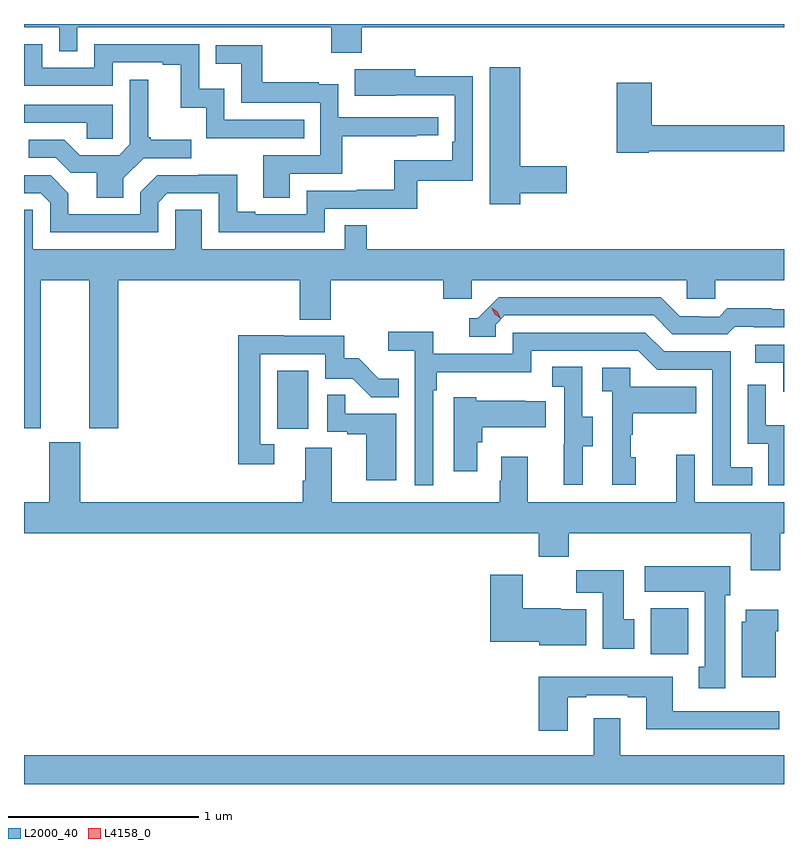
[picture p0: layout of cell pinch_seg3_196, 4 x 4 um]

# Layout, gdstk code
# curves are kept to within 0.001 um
import gdstk
lib = gdstk.Library(unit=1e-6, precision=1e-09)
def R(c, l, rs):  # rectangles x0, y0, x1, y1
    for r in rs: c.add(gdstk.rectangle(r[:2], r[2:], *l))
def P(c, l, *ps):  # polygons
    for p in ps: c.add(gdstk.Polygon(p, *l))
L2000_40 = (2000, 40)
L4158_0 = (4158, 0)

pinch_seg3_196 = lib.new_cell('pinch_seg3_196')
R(pinch_seg3_196, L2000_40, [(975.143,741.572,975.34,741.814), (973.178,742.758,973.342,743.065)])
P(pinch_seg3_196, L2000_40, [(973.622,744.872),(975.845,744.872),(975.845,744.889),(971.845,744.889),(971.845,744.872),(972.03,744.872),(972.03,744.745),(972.126,744.745),(972.126,744.872),(973.462,744.872),(973.462,744.737),(973.622,744.737)],
  [(973.319,744.384),(972.9,744.384),(972.9,744.547),(972.768,744.547),(972.768,744.783),(972.216,744.783),(972.216,744.66),(971.94,744.66),(971.94,744.783),(971.845,744.783),(971.845,744.564),(972.312,744.564),(972.312,744.687),(972.575,744.687),(972.575,744.675),(972.671,744.675),(972.671,744.449),(972.804,744.449),(972.804,744.288),(973.319,744.288)],
  [(973.243,744.102),(973.52,744.102),(973.52,744.298),(973.913,744.298),(973.913,744.303),(974.026,744.303),(974.026,744.399),(973.5,744.399),(973.5,744.571),(973.397,744.571),(973.397,744.583),(973.099,744.583),(973.099,744.777),(972.853,744.777),(972.853,744.68),(972.988,744.68),(972.988,744.474),(973.404,744.474),(973.404,744.198),(973.103,744.198),(973.103,743.974),(973.243,743.974)],
  [(974.458,743.998),(974.701,743.998),(974.701,744.14),(974.458,744.14),(974.458,744.661),(974.297,744.661),(974.297,743.94),(974.458,743.94)],
  [(972.552,743.949),(972.6,743.997),(972.87,743.997),(972.87,743.793),(973.428,743.793),(973.428,743.916),(973.915,743.916),(973.915,744.063),(974.208,744.063),(974.208,744.614),(973.903,744.614),(973.903,744.652),(973.585,744.652),(973.585,744.512),(974.112,744.513),(974.112,744.268),(974.099,744.268),(974.099,744.172),(973.794,744.172),(973.794,744.017),(973.597,744.017),(973.597,744.012),(973.332,744.012),(973.332,743.889),(973.063,743.889),(973.063,743.902),(972.967,743.902),(972.967,744.095),(972.762,744.095),(972.762,744.093),(972.546,744.093),(972.456,744.003),(972.456,743.889),(972.079,743.889),(972.079,743.999),(971.985,744.093),(971.845,744.093),(971.845,743.997),(971.934,743.997),(971.982,743.949),(971.982,743.793),(972.552,743.793)],
  [(972.367,744.076),(972.474,744.183),(972.724,744.183),(972.724,744.28),(972.511,744.28),(972.511,744.292),(972.499,744.292),(972.499,744.595),(972.402,744.595),(972.402,744.255),(972.345,744.198),(972.139,744.198),(972.058,744.279),(971.871,744.279),(971.871,744.186),(972.012,744.186),(972.092,744.106),(972.227,744.106),(972.227,743.974),(972.367,743.974)],
  [(975.132,744.22),(975.845,744.22),(975.845,744.356),(975.149,744.356),(975.149,744.58),(974.966,744.58),(974.966,744.212),(975.132,744.212)],
  [(972.312,744.465),(971.845,744.465),(971.845,744.369),(972.175,744.369),(972.175,744.285),(972.312,744.285)],
  [(971.932,743.54),(972.188,743.54),(972.188,742.761),(972.341,742.761),(972.341,743.54),(973.295,743.54),(973.295,743.332),(973.46,743.332),(973.46,743.54),(974.051,743.54),(974.051,743.442),(974.202,743.442),(974.202,743.54),(975.333,743.54),(975.333,743.442),(975.483,743.442),(975.483,743.54),(975.845,743.54),(975.845,743.704),(973.649,743.704),(973.649,743.831),(973.533,743.831),(973.533,743.704),(972.781,743.704),(972.781,743.912),(972.642,743.912),(972.642,743.704),(971.892,743.704),(971.892,743.912),(971.845,743.912),(971.845,742.761),(971.932,742.761)],
  [(974.328,743.307),(974.376,743.355),(975.159,743.355),(975.258,743.256),(975.547,743.256),(975.586,743.295),(975.685,743.295),(975.685,743.292),(975.845,743.292),(975.845,743.389),(975.78,743.389),(975.78,743.392),(975.547,743.392),(975.505,743.349),(975.402,743.349),(975.402,743.352),(975.295,743.352),(975.196,743.451),(974.343,743.451),(974.232,743.34),(974.189,743.34),(974.189,743.244),(974.328,743.244)],
  [(973.998,742.961),(974.018,742.961),(974.018,743.057),(974.514,743.057),(974.514,743.169),(975.078,743.169),(975.177,743.07),(975.468,743.07),(975.468,742.461),(975.677,742.461),(975.677,742.557),(975.564,742.557),(975.564,743.166),(975.214,743.166),(975.115,743.265),(974.418,743.265),(974.418,743.154),(974,743.154),(974,743.27),(973.761,743.27),(973.761,743.168),(973.902,743.168),(973.902,742.461),(973.998,742.461)],
  [(973.162,742.677),(973.089,742.677),(973.089,743.151),(973.431,743.151),(973.431,743.022),(973.575,743.022),(973.673,742.924),(973.817,742.924),(973.817,743.023),(973.713,743.023),(973.606,743.13),(973.53,743.13),(973.53,743.247),(973.211,743.247),(973.211,743.252),(972.973,743.252),(972.973,742.572),(973.162,742.572)],
  [(975.845,743.202),(975.693,743.202),(975.693,743.106),(975.84,743.106),(975.84,742.953),(975.845,742.953)],
  [(974.785,742.666),(974.839,742.666),(974.839,742.821),(974.784,742.821),(974.784,743.084),(974.625,743.084),(974.625,742.981),(974.688,742.981),(974.688,742.677),(974.687,742.677),(974.687,742.464),(974.785,742.464)],
  [(975.064,742.608),(975.039,742.608),(975.039,742.727),(975.049,742.727),(975.049,742.841),(975.383,742.841),(975.383,742.981),(975.036,742.981),(975.036,743.079),(974.889,743.079),(974.889,742.955),(974.94,742.955),(974.94,742.464),(975.064,742.464)],
  [(975.845,742.778),(975.75,742.778),(975.75,742.99),(975.654,742.99),(975.654,742.68),(975.762,742.68),(975.762,742.461),(975.845,742.461)],
  [(973.804,742.839),(973.535,742.839),(973.535,742.937),(973.44,742.937),(973.44,742.743),(973.547,742.743),(973.547,742.731),(973.646,742.731),(973.646,742.488),(973.804,742.488)],
  [(974.23,742.689),(974.256,742.689),(974.256,742.766),(974.591,742.766),(974.591,742.903),(974.483,742.903),(974.483,742.906),(974.226,742.906),(974.226,742.924),(974.108,742.924),(974.108,742.536),(974.23,742.536)],
  [(975.824,742.208),(975.845,742.208),(975.845,742.372),(975.375,742.372),(975.375,742.621),(975.278,742.621),(975.278,742.372),(974.497,742.372),(974.497,742.612),(974.357,742.612),(974.357,742.484),(974.35,742.484),(974.35,742.372),(973.465,742.372),(973.465,742.658),(973.325,742.658),(973.325,742.484),(973.313,742.484),(973.313,742.372),(972.142,742.372),(972.142,742.689),(971.978,742.689),(971.978,742.372),(971.845,742.372),(971.845,742.208),(974.555,742.208),(974.555,742.084),(974.711,742.084),(974.711,742.208),(975.671,742.208),(975.671,742.014),(975.824,742.014)],
  [(975.535,741.882),(975.562,741.882),(975.562,742.036),(975.111,742.036),(975.111,741.902),(975.428,741.902),(975.428,741.506),(975.395,741.506),(975.395,741.393),(975.535,741.393)],
  [(975.058,741.756),(975.001,741.756),(975.001,742.015),(974.752,742.015),(974.752,741.896),(974.891,741.896),(974.891,741.6),(975.058,741.6)],
  [(974.803,741.808),(974.67,741.808),(974.67,741.814),(974.47,741.814),(974.47,741.991),(974.3,741.991),(974.3,741.638),(974.556,741.638),(974.556,741.62),(974.803,741.62)],
  [(975.802,741.692),(975.815,741.692),(975.815,741.805),(975.644,741.805),(975.644,741.744),(975.623,741.744),(975.623,741.452),(975.802,741.452)],
  [(974.707,741.345),(974.803,741.345),(974.803,741.357),(975.023,741.357),(975.023,741.345),(975.119,741.345),(975.119,741.176),(975.82,741.176),(975.82,741.273),(975.259,741.273),(975.259,741.454),(974.555,741.454),(974.555,741.168),(974.707,741.168)],
  [(975.845,741.04),(974.983,741.04),(974.983,741.235),(974.843,741.235),(974.843,741.04),(971.845,741.04),(971.845,740.889),(975.845,740.889)])
P(pinch_seg3_196, L4158_0, [(974.352,743.341),(974.322,743.361),(974.307,743.394),(974.307,743.395),(974.307,743.395),(974.337,743.374),(974.353,743.341),(974.353,743.341)])

lib.write_gds('pinch_seg3_196.gds')
